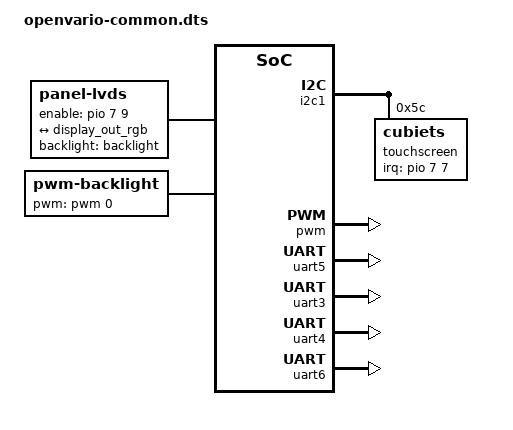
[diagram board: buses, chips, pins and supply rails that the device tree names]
/dts-v1/;
#include "sun7i-a20-cubieboard2.dts"

/ {
	panel: panel {
		compatible = "panel-lvds";
		pinctrl-names = "default";
		pinctrl-0 = <&lcd_lvds0_pins>;
		enable-gpios = <&pio 7 9 GPIO_ACTIVE_HIGH>; /* PH9 */
		backlight = <&backlight>;
		#address-cells = <1>;
		#size-cells = <0>;

		port {
			lvds_panel_in: endpoint {
				remote-endpoint = <&display_out_rgb>;
			};
		};
	};

	backlight: lcd {
		compatible = "pwm-backlight";
		pinctrl-names = "default";
		pwms = <&pwm 0 5000000 0>;
		brightness-levels = <0 8 16 32 64 128 255 384 512 768 1024>;
		default-brightness-level = <10>;
	};

};


&i2c1 {
	status = "okay";

	touchscreen: cubiets@5c {
		compatible = "cubiets";
		pinctrl-names = "default";
		pinctrl-0 = <&cubiets_int_pin>;
		reg = <0x5c>;
		interrupt-parent = <&pio>;
		interrupts = <7 7 IRQ_TYPE_EDGE_RISING>; /* PH7 / EINT7 */
		interrupt-names = "Touchscreen";
	};
};


&pio {
	led_pins_cubieboard2: led_pins@0 {
		pins = "PH20", "PH21";
		function = "gpio_out";
	};

	usb0_id_detect_pin: usb0_id_detect_pin@0 {
		pins = "PH4";
		function = "gpio_in";
		bias-pull-up;
	};

	cubiets_int_pin:cubiets_int_pin@0 {
		pins = "PH7";
		function = "irq";
		bias-pull-up;
	};

	mmc2_cd_pin: mmc2_cd_pin@0 {
		pins = "PH0";
		function = "gpio_in";
		bias-pull-up;
	};
};

&pwm {
	pinctrl-names = "default";
	pinctrl-0 = <&pwm0_pin>;
	status = "okay";
};

&reg_ahci_5v {
	status = "okay";
};


// UART2 on Schematic
&uart5 {
	pinctrl-names = "default";
	pinctrl-0 = <&uart5_ph_pins>;
	status = "okay";
};

// UART? on Schematic
&uart3 {
	pinctrl-names = "default";
	pinctrl-0 = <&uart3_pg_pins>;
	status = "okay";
};

// UART? on Schematic
&uart4 {
	pinctrl-names = "default";
	pinctrl-0 = <&uart4_pg_pins>;
	status = "okay";
};

// UART6 on Schematic - enabling this removes SPI functionality in order to enable 4th IGC port usage
&uart6 {
	pinctrl-names = "default";
	pinctrl-0 = <&uart6_pi_pins>;
	status = "okay";
};

&rtp {
	allwinner,ts-attached;
	allwinner,tp-sensitive-adjust = <0>;
	allwinner,filter-type = <3>;
};


&tcon0 {
	ports {
		tcon0_out: port@1 {
			display_out_rgb: endpoint@0 {
				reg = <0>;
				remote-endpoint = <&lvds_panel_in>;
				allwinner,tcon-channel = <0>;
			};
		};
	};
};
